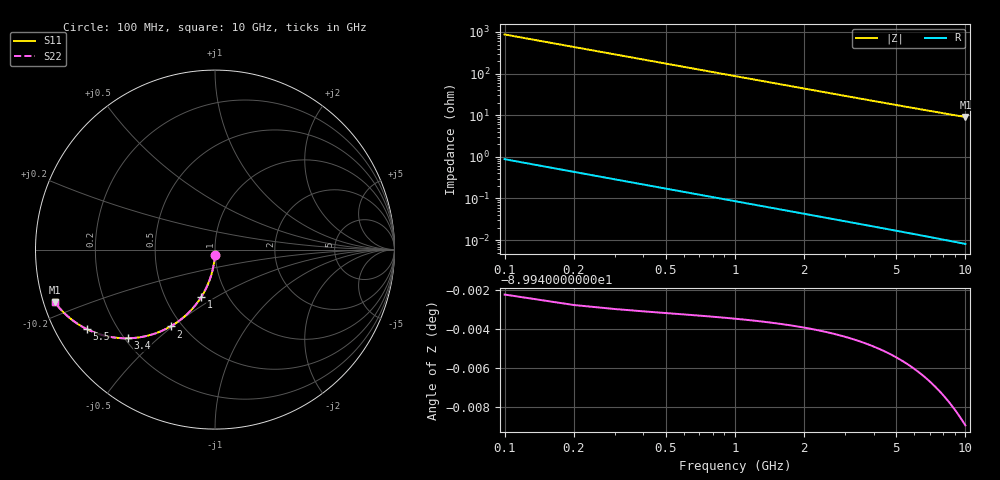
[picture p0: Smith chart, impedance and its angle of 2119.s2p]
# Hz S RI R 50.00
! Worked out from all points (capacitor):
!   100 points, 100 MHz to 10 GHz, reference 50 ohm
!   read as one part in shunt: C = 1.83 pF near 100 MHz
!   lowest |Z| = 9.07 ohm at 10 GHz (marker M1)
!   S11 on the Smith chart (normalised r, x): 100 MHz: 1.00, -0.06; 1 GHz: 0.75, -0.43; 2 GHz: 0.43, -0.49; 3.4 GHz: 0.21, -0.40; 5.5 GHz: 0.09, -0.28; 10 GHz: 0.03, -0.16
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1e8  -0.000818 -0.0285  0.9991 -0.0288  0.9991 -0.0288  -0.000818 -0.0285
2e8  -0.0033 -0.0569  0.9966 -0.0575  0.9966 -0.0575  -0.0033 -0.0569
3e8  -0.0074 -0.0849  0.9925 -0.0858  0.9925 -0.0858  -0.0074 -0.0849
4e8  -0.0131 -0.1126  0.9869 -0.1138  0.9869 -0.1138  -0.0131 -0.1126
5e8  -0.0202 -0.1397  0.9797 -0.1412  0.9797 -0.1412  -0.0202 -0.1397
6e8  -0.0289 -0.1661  0.9711 -0.1679  0.9711 -0.1679  -0.0289 -0.1661
7e8  -0.0389 -0.1918  0.9611 -0.1939  0.9611 -0.1939  -0.0389 -0.1918
8e8  -0.0501 -0.2166  0.9498 -0.219  0.9498 -0.219  -0.0501 -0.2166
1e9  -0.0761 -0.2633  0.9238 -0.2662  0.9238 -0.2662  -0.0761 -0.2633
1.2e9  -0.106 -0.3056  0.8939 -0.3092  0.8939 -0.3092  -0.106 -0.3056
1.4e9  -0.1389 -0.3433  0.861 -0.3474  0.861 -0.3474  -0.1389 -0.3433
1.8e9  -0.2103 -0.4044  0.7896 -0.4098  0.7896 -0.4098  -0.2103 -0.4044
2e9  -0.2474 -0.428  0.7525 -0.434  0.7525 -0.434  -0.2474 -0.428
2.6e9  -0.3569 -0.4747  0.643 -0.4825  0.643 -0.4825  -0.3569 -0.4747
3e9  -0.4247 -0.4893  0.5751 -0.4983  0.5751 -0.4983  -0.4247 -0.4893
3.4e9  -0.4866 -0.4942  0.5132 -0.5044  0.5132 -0.5044  -0.4866 -0.4942
4.2e9  -0.5911 -0.4848  0.4087 -0.4974  0.4087 -0.4974  -0.5911 -0.4848
5.1e9  -0.6806 -0.458  0.3192 -0.4734  0.3192 -0.4734  -0.6806 -0.458
5.5e9  -0.7125 -0.4437  0.2872 -0.4604  0.2872 -0.4604  -0.7125 -0.4437
6.7e9  -0.7864 -0.399  0.2133 -0.4195  0.2133 -0.4195  -0.7864 -0.399
8.4e9  -0.853 -0.3404  0.1466 -0.3664  0.1466 -0.3664  -0.853 -0.3404
1e10  -0.8919 -0.294  0.1075 -0.3252  0.1075 -0.3252  -0.8919 -0.294
